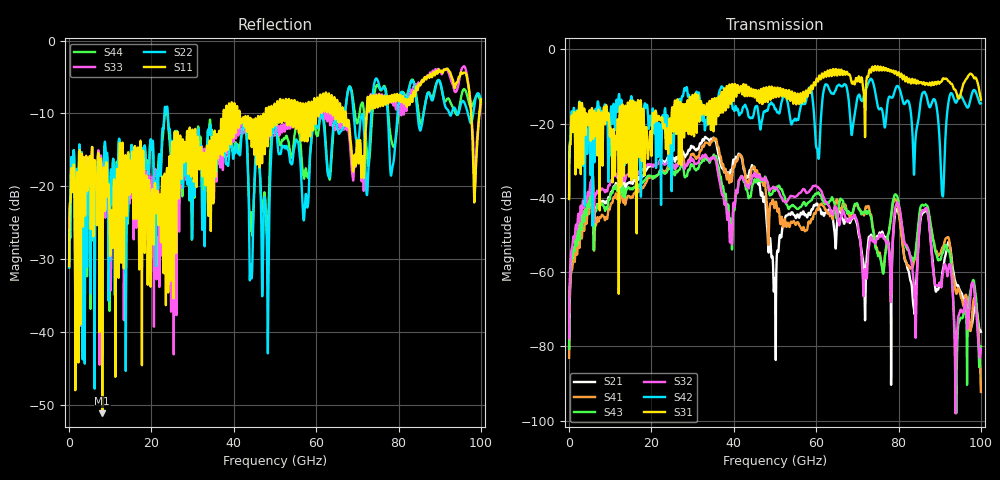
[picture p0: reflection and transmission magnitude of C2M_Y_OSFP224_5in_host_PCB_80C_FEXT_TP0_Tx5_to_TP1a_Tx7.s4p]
# GHz S RI R 45
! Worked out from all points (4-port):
!   4000 points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, 25 MHz to 100 GHz, reference 45 ohm
!   strongest paths, dB at 25 MHz, 25.02 GHz, 50.02 GHz, 75.03 GHz, 100 GHz:
!     S31: -40.3, -15.8, -10.7, -4.6, -13.5
!     S42: -39.6, -28.1, -16.1, -15.6, -14.6
!     S32: -77.9, -30.9, -37.5, -51.1, -80.8
!     S43: -80.6, -32.8, -38.1, -55.7, -80.0
!     S41: -83.1, -31.2, -42.2, -55.0, -92.3
!     S21: -80.7, -29.0, -62.5, -50.5, -76.1
!   lowest |S11| = -51.1 dB at 8.075 GHz (marker M1), VSWR 1.01, Z = 45 - j0.249 ohm
!   |S11| at or under -10 dB: start of sweep to 37.5 GHz; 41.47 GHz to 47.75 GHz (6.274 GHz wide, 14.1 % of centre); 67.2 GHz to 72.26 GHz (5.065 GHz wide, 7.26 % of centre) (the widest 3 of 34)
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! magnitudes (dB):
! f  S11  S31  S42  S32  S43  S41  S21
! 25 MHz  -30.9  -40.3  -39.6  -77.9  -80.6  -83.1  -80.7
! 8.075 GHz  -51.1  -27.5  -16.9  -37.5  -41.6  -44.6  -40.8
! 34.92 GHz  -17.1  -15.6  -14.1  -29.2  -28.9  -24.4  -24.0
! 49.9 GHz  -8.7  -10.3  -15.9  -37.4  -38.2  -42.8  -61.8
! 83.75 GHz  -7.0  -9.0  -33.8  -63.5  -56.2  -57.1  -69.9
! 86.6 GHz  -5.2  -9.4  -12.0  -42.8  -41.8  -42.8  -43.3
! 100 GHz  -8.1  -13.5  -14.6  -80.8  -80.0  -92.3  -76.1
